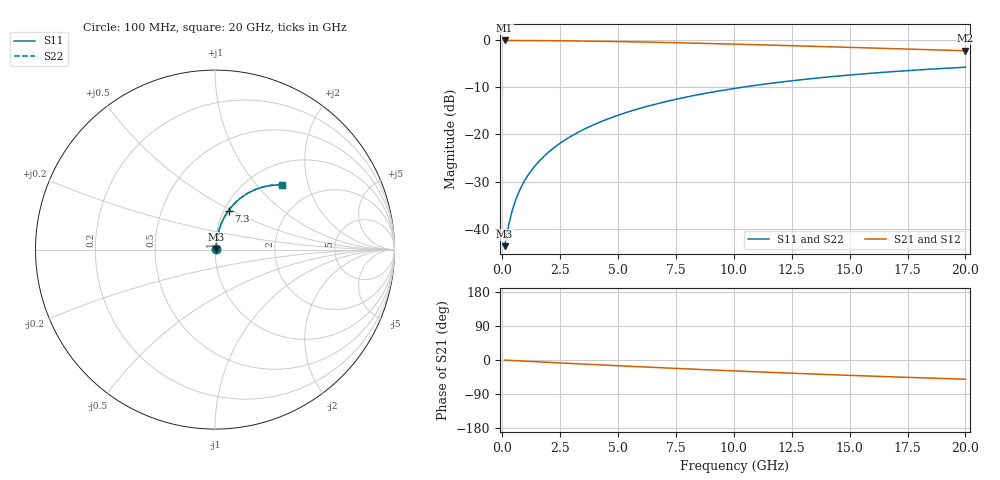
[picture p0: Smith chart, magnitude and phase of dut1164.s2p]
! Touchstone file exported from HFSS 2024.1.0
!  File:  C:/UserFiles/LocalFiles/RDL_TSV_Batchsim/temp_RDL_top_1164_1780048642.aedt
!  Generated:  05:59:27 PM May 29, 2026
!  Design:  RDL_top
!  Project:  temp_RDL_top_1164_1780048642
!  Setup:  Setup1
!  Solution:  Sweep
! Variables:
!  dtsv = 10.80580581um
!  hbump = 3um
!  htsv = 98.93um
!  ldown = 100um
!  lrdl = 659.04um
!  p = 40
!  p1 = 55.41um
!  rhole = 1um
!  t = 450um
!  tdown = 3.915915916um
!  trdl = 2.82um
!  wdown = 15.38538539um
!  wrdl = 15.13um
# GHz S MA R 50.000000
! Terminal data exported
! Port[1] = Box2_T1
! Port[2] = Box2_T2
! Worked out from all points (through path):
!   200 points, 100 MHz to 20 GHz, reference 50 ohm
!   highest |S21| = -0.05 dB at 100 MHz (marker M1); lowest = -2.2 dB at 20 GHz (marker M2)
!   group delay of S21, straight-line fit = 7.04 ps
!   lowest |S11| = -43.7 dB at 100 MHz (marker M3), VSWR 1.01, Z = 50.6 + j0.343 ohm
!   |S11| at or under -10 dB: start of sweep to 10.33 GHz
!   |S22| runs from -43.7 to -5.7 dB; largest |S21 - S12| = 4.7e-15
!   S11 on the Smith chart (normalised r, x): 100 MHz: 1.01, +0.01; 7.3 GHz: 1.05, +0.48; 20 GHz: 1.40, +1.37
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0.1  0.006523 31.3  0.9944 -0.3  0.9944 -0.3  0.006523 31.3
! Gamma 0 0 0 0
! Port Impedance 50 0 50 0
0.2  0.008833 49.9  0.9943 -0.6  0.9943 -0.6  0.008833 49.9
0.3  0.01166 59.8  0.9941 -1.0  0.9941 -1.0  0.01166 59.8
0.4  0.01468 65.5  0.9939 -1.3  0.9939 -1.3  0.01468 65.5
0.5  0.01777 69.1  0.9937 -1.6  0.9937 -1.6  0.01777 69.1
0.6  0.02088 71.5  0.9935 -1.9  0.9935 -1.9  0.02088 71.5
0.8  0.02713 74.7  0.993 -2.5  0.993 -2.5  0.02713 74.7
1.1  0.03654 77.2  0.9922 -3.4  0.9922 -3.4  0.03654 77.2
1.3  0.04284 78.1  0.9916 -4.1  0.9916 -4.1  0.04284 78.1
1.6  0.05232 78.9  0.9905 -5.0  0.9905 -5.0  0.05232 79.0
2.1  0.06817 79.4  0.9885 -6.5  0.9885 -6.5  0.06817 79.4
2.7  0.08725 79.2  0.9855 -8.3  0.9855 -8.3  0.08725 79.3
3.5  0.1127 78.3  0.9804 -10.7  0.9804 -10.7  0.1127 78.4
4.2  0.1348 77.2  0.9751 -12.8  0.9751 -12.8  0.1348 77.3
5  0.16 75.7  0.9681 -15.2  0.9681 -15.2  0.16 75.8
6.8  0.2154 71.9  0.9494 -20.3  0.9494 -20.3  0.2154 72.0
7.3  0.2304 70.8  0.9436 -21.7  0.9436 -21.7  0.2304 70.9
8.6  0.2683 67.9  0.9276 -25.2  0.9276 -25.2  0.2684 67.9
10.1  0.31 64.5  0.908 -29.0  0.908 -29.0  0.3101 64.5
13.4  0.3923 57.1  0.8624 -37.0  0.8624 -37.0  0.3925 57.2
16.7  0.461 50.3  0.8167 -44.2  0.8167 -44.2  0.4613 50.3
20  0.517 44.1  0.7733 -50.7  0.7733 -50.7  0.5173 44.1
